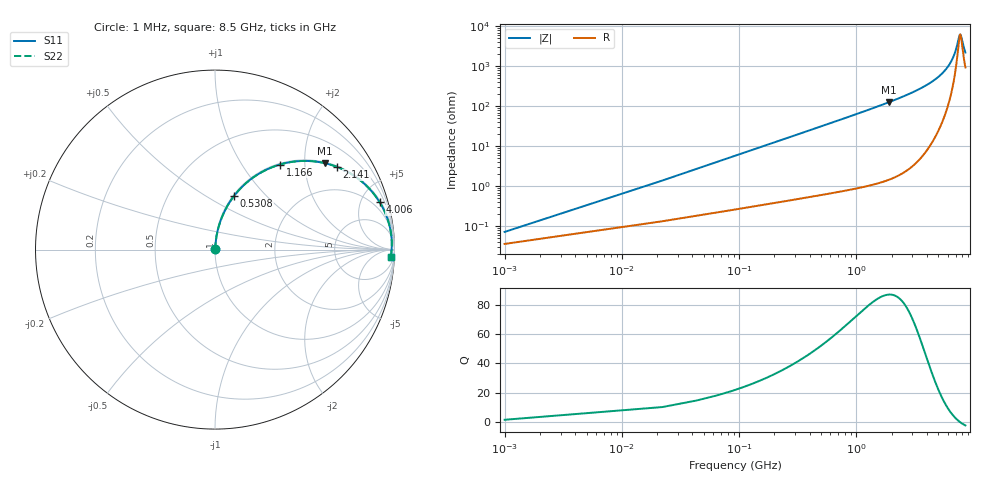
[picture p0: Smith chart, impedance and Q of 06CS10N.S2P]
! Coilcraft 0603CS-10N Chip Inductor
! 21 May 2002
# MHZ S MA R 50
!Freq  MagS11  AngS11  MagS21  AngS21  MagS12  AngS12  MagS22  AngS22
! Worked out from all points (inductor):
!   403 points, 1 MHz to 8.5 GHz, reference 50 ohm
!   read as one part in series: L = 10 nH near 43.38 MHz
!   highest Q = 86.8 at 1.887 GHz (marker M1), where L = 10.6 nH
!   self-resonance near 7.695 GHz
!   S11 on the Smith chart (normalised r, x): 1 MHz: 1.00, +0.00; 530.8 MHz: 1.01, +0.67; 1.166 GHz: 1.02, +1.50; 2.141 GHz: 1.03, +2.92; 4.006 GHz: 1.16, +6.91; 8.5 GHz: 20, -40
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1  0.0007259 59.9  0.9996 -0.0  0.9996 -0.0  0.0007259 59.9
64.57  0.04051 84.5  0.997 -2.3  0.997 -2.3  0.04051 84.5
85.76  0.05374 84.2  0.996 -3.1  0.996 -3.1  0.05374 84.2
128.14  0.08009 83.2  0.9937 -4.6  0.9937 -4.6  0.08009 83.2
191.71  0.1193 81.4  0.9891 -6.8  0.9891 -6.8  0.1193 81.4
276.47  0.1707 78.7  0.9809 -9.8  0.9809 -9.8  0.1707 78.7
530.75  0.316 70.5  0.9429 -18.4  0.9429 -18.4  0.316 70.5
806.22  0.4531 62.2  0.8846 -26.9  0.8846 -26.9  0.4531 62.2
1166.45  0.5964 52.6  0.795 -36.6  0.795 -36.6  0.5964 52.6
1420.73  0.6747 46.9  0.7299 -42.4  0.7299 -42.4  0.6747 46.9
1886.91  0.7794 38.1  0.6176 -51.2  0.6176 -51.2  0.7794 38.1
2141.19  0.8204 34.2  0.5623 -55.1  0.5623 -55.1  0.8204 34.2
2840.46  0.8955 25.7  0.4331 -63.6  0.4331 -63.6  0.8955 25.7
4005.91  0.9547 16.0  0.2762 -72.6  0.2762 -72.6  0.9547 16.0
4260.19  0.9618 14.4  0.2489 -74.0  0.2489 -74.0  0.9618 14.4
5679.92  0.9825 7.2  0.1253 -78.4  0.1253 -78.4  0.9825 7.2
6506.33  0.9858 3.9  0.06952 -76.2  0.06952 -76.2  0.9858 3.9
7099.65  0.9857 1.9  0.0355 -65.4  0.0355 -65.4  0.9857 1.9
7523.45  0.9848 0.5  0.01773 -30.6  0.01773 -30.6  0.9848 0.5
7692.97  0.9842 0.0  0.01578 -0.4  0.01578 -0.4  0.9842 0.0
7820.11  0.9837 -0.4  0.01749 21.5  0.01749 21.5  0.9837 -0.4
8500  0.9804 -2.3  0.04433 62.6  0.04433 62.6  0.9804 -2.3
